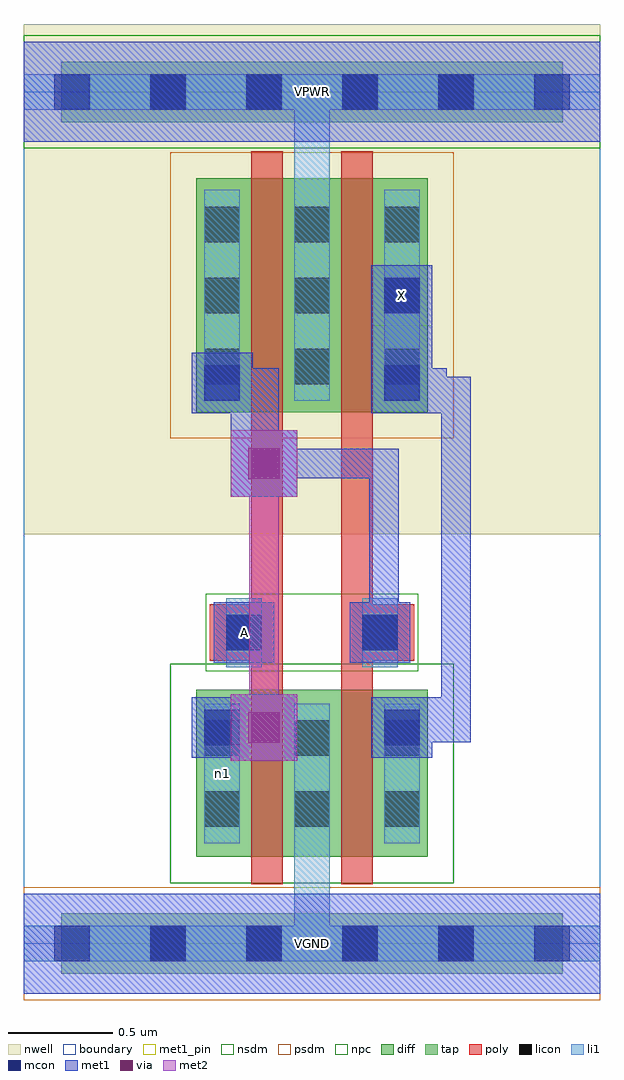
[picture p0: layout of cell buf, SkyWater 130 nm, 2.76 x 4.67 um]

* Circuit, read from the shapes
.subckt buf A VGND VPWR X n1
XM1 VGND A n1 VGND sky130_fd_pr__nfet_01v8 w=0.8 l=0.15
XM2 X n1 VGND VGND sky130_fd_pr__nfet_01v8 w=0.8 l=0.15
XM3 VPWR A n1 VPWR sky130_fd_pr__pfet_01v8 w=1.12 l=0.15
XM4 X n1 VPWR VPWR sky130_fd_pr__pfet_01v8 w=1.12 l=0.15
.ends

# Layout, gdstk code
import gdstk
lib = gdstk.Library(unit=1e-6, precision=1e-09)
def R(c, l, rs):  # rectangles x0, y0, x1, y1
    for r in rs: c.add(gdstk.rectangle(r[:2], r[2:], *l))
def A(c, l, x, y, w, h, nx, ny, dx, dy):  # array of equal rectangles
    R(c, l, [(x+i*dx, y+j*dy, x+i*dx+w, y+j*dy+h) for i in range(nx) for j in range(ny)])
nwell = (64, 20)
diff = (65, 20)
tap = (65, 44)
poly = (66, 20)
licon = (66, 44)
li1 = (67, 20)
mcon = (67, 44)
met1_pin = (68, 16)
met1 = (68, 20)
via = (68, 44)
met2 = (69, 20)
nsdm = (93, 44)
psdm = (94, 20)
npc = (95, 20)
boundary = (235, 4)

buf = lib.new_cell('buf')
R(buf, nwell, [(0,1.96,2.76,4.405)])
R(buf, diff, [(0.825,0.415,1.935,1.215), (0.825,2.545,1.935,3.665)])
R(buf, tap, [(0.18,-0.145,2.58,0.145), (0.18,3.935,2.58,4.225)])
R(buf, poly, [(1.09,0.285,1.24,3.795), (1.52,0.285,1.67,3.795), (0.89,1.355,1.22,1.625), (1.54,1.355,1.87,1.625)])
A(buf, licon, 0.605, -0.085, 0.17, 0.17, 4, 2, 0.46, 4.08)
A(buf, licon, 0.865, 0.56, 0.17, 0.17, 3, 2, 0.43, 0.34)
A(buf, licon, 0.865, 2.68, 0.17, 0.17, 3, 3, 0.43, 0.34)
R(buf, licon, [(0.97,1.405,1.14,1.575), (1.62,1.405,1.79,1.575)])
A(buf, li1, 0.865, 0.48, 0.17, 0.67, 3, 1, 0.43, 0)
A(buf, li1, 0.865, 2.6, 0.17, 1.01, 3, 1, 0.43, 0)
R(buf, li1, [(0,-0.085,2.76,0.085), (1.295,-0.085,1.465,1.15), (0.97,1.325,1.14,1.655), (1.62,1.325,1.79,1.655), (1.295,2.6,1.465,4.165), (0,3.995,2.76,4.165)])
A(buf, mcon, 0.145, -0.085, 0.17, 0.17, 6, 2, 0.46, 4.08)
R(buf, mcon, [(0.865,0.95,1.035,1.12), (1.725,0.95,1.895,1.12), (0.97,1.405,1.14,1.575), (1.62,1.405,1.79,1.575), (0.865,2.6,1.035,2.77), (1.725,2.6,1.895,2.77), (1.725,3.02,1.895,3.19)])
R(buf, met1_pin, [(0,-0.24,2.76,0.24), (0.91,1.345,1.2,1.635), (1.665,2.96,1.955,3.25), (0,3.84,2.76,4.32)])
R(buf, met1, [(0,-0.24,2.76,0.24), (0.99,0.875,1.31,1.195), (0.805,0.89,1.095,1.18), (1.665,0.89,1.955,1.18), (0.88,0.965,1.22,1.105), (1.74,0.965,2.025,1.105), (1.885,0.965,2.14,1.105), (1.955,0.965,2,1.18), (2,0.965,2.14,2.715), (0.91,1.345,1.2,1.635), (1.56,1.345,1.85,1.635), (1.655,1.425,1.795,1.565), (1.655,1.425,1.795,2.37), (0.99,2.14,1.31,2.46), (1.08,2.23,1.795,2.37), (1.08,2.23,1.22,2.6), (0.99,2.46,1.095,2.54), (1.08,2.46,1.22,2.755), (0.805,2.54,1.095,2.83), (1.665,2.54,1.955,2.83), (1.955,2.54,2,2.715), (1.885,2.575,2.025,2.755), (1.885,2.575,2.14,2.715), (0.88,2.615,1.22,2.755), (1.74,2.615,2.025,2.755), (1.665,2.83,1.955,2.96), (1.665,2.96,1.955,3.25), (0,3.84,2.76,4.32)])
R(buf, via, [(1.075,0.96,1.225,1.11), (1.075,2.225,1.225,2.375)])
R(buf, met2, [(0.99,0.875,1.31,1.195), (1.08,0.965,1.22,2.37), (0.99,2.14,1.31,2.46)])
R(buf, nsdm, [(0.7,0.29,2.06,1.34), (0,3.81,2.76,4.35)])
R(buf, psdm, [(0,-0.27,2.76,0.27), (0.7,2.42,2.06,3.79)])
R(buf, npc, [(0.87,1.305,1.89,1.675)])
R(buf, boundary, [(0,0,2.76,4.08)])
buf.add(gdstk.Label('n1', (0.95,0.815), layer=67, texttype=5))
buf.add(gdstk.Label('A', (1.055,1.49), layer=68, texttype=5))
buf.add(gdstk.Label('X', (1.81,3.105), layer=68, texttype=5))
buf.add(gdstk.Label('VPWR', (1.38,4.08), layer=68, texttype=5))
buf.add(gdstk.Label('VGND', (1.38,0), layer=68, texttype=5))
buf.add(gdstk.Label('A', (1.055,1.49), layer=68, texttype=16))
buf.add(gdstk.Label('X', (1.81,3.105), layer=68, texttype=16))
buf.add(gdstk.Label('VPWR', (1.38,4.08), layer=68, texttype=16))
buf.add(gdstk.Label('VGND', (1.38,0), layer=68, texttype=16))

lib.write_gds('buf.gds')
